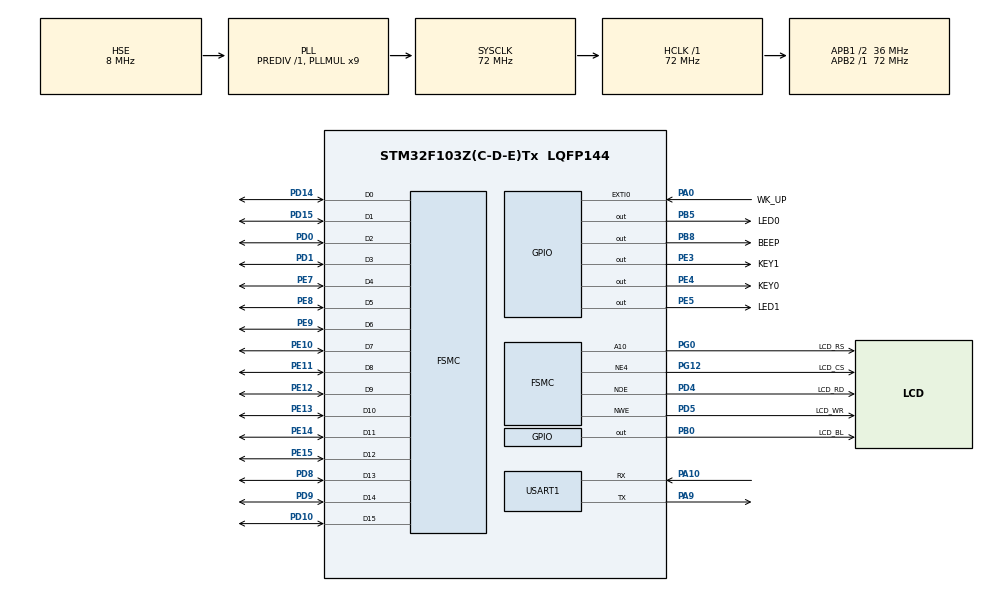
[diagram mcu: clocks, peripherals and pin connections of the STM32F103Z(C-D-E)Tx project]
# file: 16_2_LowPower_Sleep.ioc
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FSMC.AddressSetupTime1=0
FSMC.BusTurnAroundDuration1=15
FSMC.DataSetupTime1=15
FSMC.ExtendedAddressSetupTime1=0
FSMC.ExtendedDataSetupTime1=1
FSMC.ExtendedMode1=FSMC_EXTENDED_MODE_ENABLE
Mcu.Family=STM32F1
Mcu.Name=STM32F103Z(C-D-E)Tx
Mcu.Package=LQFP144
NVIC.EXTI0_IRQn=true\:2\:2\:true\:false\:true\:true\:true\:true
NVIC.PriorityGroup=NVIC_PRIORITYGROUP_2
NVIC.USART1_IRQn=true\:2\:2\:true\:false\:true\:true\:true\:true
OSC_IN.Mode=HSE-External-Oscillator
OSC_IN.Signal=RCC_OSC_IN
OSC_OUT.Mode=HSE-External-Oscillator
OSC_OUT.Signal=RCC_OSC_OUT
PA0-WKUP.GPIO_Label=WK_UP
PA0-WKUP.GPIO_PuPd=GPIO_PULLDOWN
PA0-WKUP.Signal=GPXTI0
PA10.Mode=Asynchronous
PA10.Signal=USART1_RX
PA13.Mode=Serial_Wire
PA13.Signal=SYS_JTMS-SWDIO
PA14.Mode=Serial_Wire
PA14.Signal=SYS_JTCK-SWCLK
PA9.Mode=Asynchronous
PA9.Signal=USART1_TX
PB0.GPIO_Label=LCD_BL
PB0.GPIO_PuPd=GPIO_PULLUP
PB0.GPIO_Speed=GPIO_SPEED_FREQ_HIGH
PB0.PinState=GPIO_PIN_SET
PB0.Signal=GPIO_Output
PB5.GPIO_Label=LED0
PB5.GPIO_PuPd=GPIO_PULLUP
PB5.GPIO_Speed=GPIO_SPEED_FREQ_HIGH
PB5.PinState=GPIO_PIN_SET
PB5.Signal=GPIO_Output
PB8.GPIO_Label=BEEP
PB8.GPIO_ModeDefaultOutputPP=GPIO_MODE_OUTPUT_PP
PB8.GPIO_PuPd=GPIO_PULLDOWN
PB8.GPIO_Speed=GPIO_SPEED_FREQ_HIGH
PB8.PinState=GPIO_PIN_RESET
PB8.Signal=GPIO_Output
PC14-OSC32_IN.Mode=LSE-External-Oscillator
PC14-OSC32_IN.Signal=RCC_OSC32_IN
PC15-OSC32_OUT.Mode=LSE-External-Oscillator
PC15-OSC32_OUT.Signal=RCC_OSC32_OUT
PD0.Signal=FSMC_D2_DA2
PD1.Signal=FSMC_D3_DA3
PD10.Signal=FSMC_D15_DA15
PD14.Signal=FSMC_D0_DA0
PD15.Signal=FSMC_D1_DA1
PD4.GPIO_Label=LCD_RD
PD4.Signal=FSMC_NOE
PD5.GPIO_Label=LCD_WR
PD5.Signal=FSMC_NWE
PD8.Signal=FSMC_D13_DA13
PD9.Signal=FSMC_D14_DA14
PE10.Signal=FSMC_D7_DA7
PE11.Signal=FSMC_D8_DA8
PE12.Signal=FSMC_D9_DA9
PE13.Signal=FSMC_D10_DA10
PE14.Signal=FSMC_D11_DA11
PE15.Signal=FSMC_D12_DA12
PE3.GPIO_Label=KEY1
PE3.GPIO_PuPd=GPIO_PULLUP
PE3.GPIO_Speed=GPIO_SPEED_FREQ_HIGH
PE3.PinState=GPIO_PIN_SET
PE3.Signal=GPIO_Output
PE4.GPIO_Label=KEY0
PE4.GPIO_PuPd=GPIO_PULLUP
PE4.GPIO_Speed=GPIO_SPEED_FREQ_HIGH
PE4.PinState=GPIO_PIN_SET
PE4.Signal=GPIO_Output
PE5.GPIO_Label=LED1
PE5.GPIO_PuPd=GPIO_PULLUP
PE5.GPIO_Speed=GPIO_SPEED_FREQ_HIGH
PE5.PinState=GPIO_PIN_SET
PE5.Signal=GPIO_Output
PE7.Signal=FSMC_D4_DA4
PE8.Signal=FSMC_D5_DA5
PE9.Signal=FSMC_D6_DA6
PG0.GPIO_Label=LCD_RS
PG0.Signal=FSMC_A10
PG12.GPIO_Label=LCD_CS
PG12.Mode=NorPsramChipSelect4_1
PG12.Signal=FSMC_NE4
ProjectManager.HeapSize=0x200
ProjectManager.StackSize=0x400
ProjectManager.TargetToolchain=STM32CubeIDE
RCC.AHBFreq_Value=72000000
RCC.APB1CLKDivider=RCC_HCLK_DIV2
RCC.APB1Freq_Value=36000000
RCC.APB1TimFreq_Value=72000000
RCC.APB2Freq_Value=72000000
RCC.APB2TimFreq_Value=72000000
RCC.HCLKFreq_Value=72000000
RCC.PLLMUL=RCC_PLL_MUL9
RCC.PLLSourceVirtual=RCC_PLLSOURCE_HSE
RCC.SYSCLKFreq_VALUE=72000000
RCC.SYSCLKSource=RCC_SYSCLKSOURCE_PLLCLK
RCC.USBFreq_Value=72000000
SH.FSMC_A10.0=FSMC_A10,A10_1
SH.FSMC_D0_DA0.0=FSMC_D0,16b-d1
SH.FSMC_D10_DA10.0=FSMC_D10,16b-d1
SH.FSMC_D11_DA11.0=FSMC_D11,16b-d1
SH.FSMC_D12_DA12.0=FSMC_D12,16b-d1
SH.FSMC_D13_DA13.0=FSMC_D13,16b-d1
SH.FSMC_D14_DA14.0=FSMC_D14,16b-d1
SH.FSMC_D15_DA15.0=FSMC_D15,16b-d1
SH.FSMC_D1_DA1.0=FSMC_D1,16b-d1
SH.FSMC_D2_DA2.0=FSMC_D2,16b-d1
SH.FSMC_D3_DA3.0=FSMC_D3,16b-d1
SH.FSMC_D4_DA4.0=FSMC_D4,16b-d1
SH.FSMC_D5_DA5.0=FSMC_D5,16b-d1
SH.FSMC_D6_DA6.0=FSMC_D6,16b-d1
SH.FSMC_D7_DA7.0=FSMC_D7,16b-d1
SH.FSMC_D8_DA8.0=FSMC_D8,16b-d1
SH.FSMC_D9_DA9.0=FSMC_D9,16b-d1
SH.FSMC_NOE.0=FSMC_NOE,Lcd1
SH.FSMC_NWE.0=FSMC_NWE,Lcd1
USART1.VirtualMode=VM_ASYNC
board=custom

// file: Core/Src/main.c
/* USER CODE BEGIN Header */

/* USER CODE END Header */
#include "main.h"
#include "usart.h"
#include "gpio.h"
#include "fsmc.h"

/* USER CODE BEGIN Includes */
#include "../../BSP/LED/led.h"
#include "../../BSP/BEEP/beep.h"
#include "../../BSP/KEY/key.h"
#include "../../BSP/LCD/lcd.h"
#include "../../BSP/PWR/pwr.h"
#include "../../SYSTEM/delay/delay.h"
#include "../../SYSTEM/sys/sys.h"
/* USER CODE END Includes */

void SystemClock_Config(void);

int main(void)
{
  /* USER CODE BEGIN 1 */
    uint8_t t = 0;
    uint8_t key = 0;
  /* USER CODE END 1 */

  /* MCU Configuration--------------------------------------------------------*/

  /* Reset of all peripherals, Initializes the Flash interface and the Systick. */
  HAL_Init();

  /* Configure the system clock */
  SystemClock_Config();

  /* USER CODE BEGIN SysInit */
  delay_init(72);						   /* 初始化延时函数 */
  /* USER CODE END SysInit */

  /* Initialize all configured peripherals */
  MX_GPIO_Init();
  MX_FSMC_Init();
  MX_USART1_UART_Init();
  /* USER CODE BEGIN 2 */
  lcd_init();                         /* 初始化LCD */

  lcd_show_string(30, 50, 200, 16, 16,  "STM32", RED);
  lcd_show_string(30, 70, 200, 16, 16,  "SLEEP TEST", RED);
  lcd_show_string(30, 90, 200, 16, 16,  "ATOM@ALIENTEK", RED);
  lcd_show_string(30, 110, 200, 16, 16, "KEY0:Enter SLEEP MODE", RED);
  lcd_show_string(30, 130, 200, 16, 16, "KEY_UP:Exit SLEEP MODE", RED);
  /* USER CODE END 2 */

  /* Infinite loop */
  /* USER CODE BEGIN WHILE */
  while (1)
  {
      key = key_scan(0);

      if (key == KEY0_PRES)
      {
          LED1(0);                    /* 点亮绿灯,提示进入睡眠模式 */

          pwr_enter_sleep();          /* 进入睡眠模式 */
          HAL_ResumeTick();        	  /* 恢复滴答时钟 */

          LED1(1);                    /* 关闭绿灯,提示退出睡眠模式 */
      }

      if ((t % 20) == 0)
      {
          LED0_TOGGLE();              /* 每200ms,翻转一次LED0 */
      }

      delay_ms(10);
      t++;

    /* USER CODE END WHILE */

  }
}

void SystemClock_Config(void)
{
  RCC_OscInitTypeDef RCC_OscInitStruct = {0};
  RCC_ClkInitTypeDef RCC_ClkInitStruct = {0};

  /** Initializes the RCC Oscillators according to the specified parameters
  * in the RCC_OscInitTypeDef structure.
  */
  RCC_OscInitStruct.OscillatorType = RCC_OSCILLATORTYPE_HSE;
  RCC_OscInitStruct.HSEState = RCC_HSE_ON;
  RCC_OscInitStruct.HSEPredivValue = RCC_HSE_PREDIV_DIV1;
  RCC_OscInitStruct.HSIState = RCC_HSI_ON;
  RCC_OscInitStruct.PLL.PLLState = RCC_PLL_ON;
  RCC_OscInitStruct.PLL.PLLSource = RCC_PLLSOURCE_HSE;
  RCC_OscInitStruct.PLL.PLLMUL = RCC_PLL_MUL9;
  if (HAL_RCC_OscConfig(&RCC_OscInitStruct) != HAL_OK)
  {
    Error_Handler();
  }

  /** Initializes the CPU, AHB and APB buses clocks
  */
  RCC_ClkInitStruct.ClockType = RCC_CLOCKTYPE_HCLK|RCC_CLOCKTYPE_SYSCLK
                              |RCC_CLOCKTYPE_PCLK1|RCC_CLOCKTYPE_PCLK2;
  RCC_ClkInitStruct.SYSCLKSource = RCC_SYSCLKSOURCE_PLLCLK;
  RCC_ClkInitStruct.AHBCLKDivider = RCC_SYSCLK_DIV1;
  RCC_ClkInitStruct.APB1CLKDivider = RCC_HCLK_DIV2;
  RCC_ClkInitStruct.APB2CLKDivider = RCC_HCLK_DIV1;

  if (HAL_RCC_ClockConfig(&RCC_ClkInitStruct, FLASH_LATENCY_2) != HAL_OK)
  {
    Error_Handler();
  }
}

void Error_Handler(void)
{
  __disable_irq();
  while (1)
  {
  }
}
